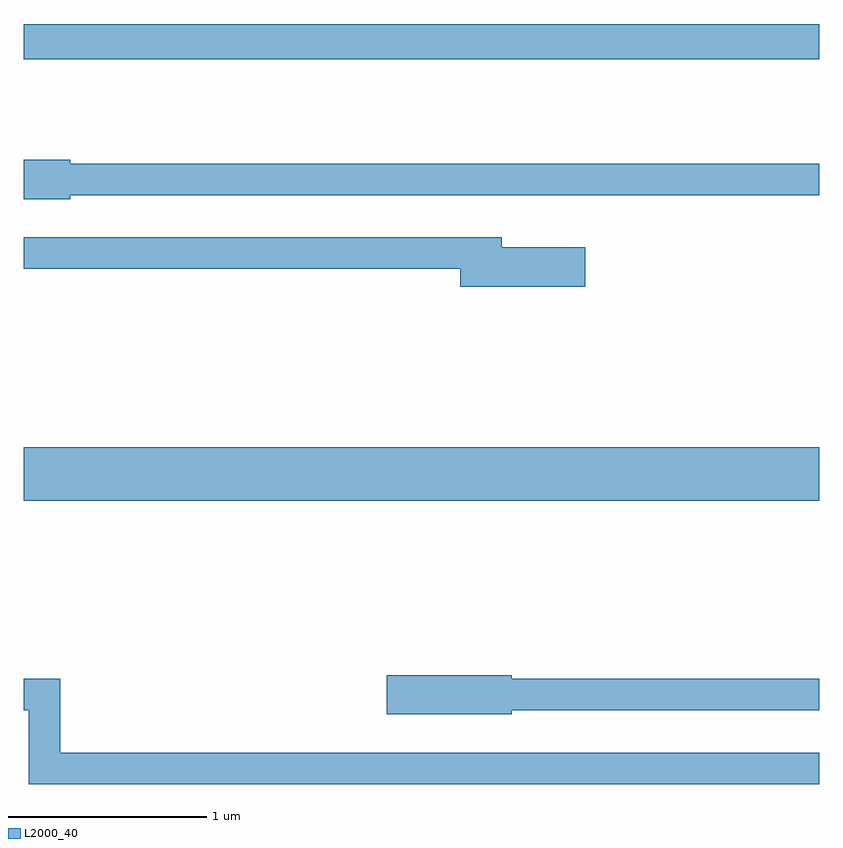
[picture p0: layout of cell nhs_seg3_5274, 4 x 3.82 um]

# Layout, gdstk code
import gdstk
lib = gdstk.Library(unit=1e-6, precision=1e-09)
def R(c, l, rs):  # rectangles x0, y0, x1, y1
    for r in rs: c.add(gdstk.rectangle(r[:2], r[2:], *l))
def P(c, l, *ps):  # polygons
    for p in ps: c.add(gdstk.Polygon(p, *l))
L2000_40 = (2000, 40)

nhs_seg3_5274 = lib.new_cell('nhs_seg3_5274')
R(nhs_seg3_5274, L2000_40, [(339.611,1201.496,343.611,1201.764), (339.611,1203.716,343.611,1203.892)])
P(nhs_seg3_5274, L2000_40, [(339.844,1203.031),(343.611,1203.031),(343.611,1203.189),(339.844,1203.189),(339.844,1203.209),(339.611,1203.209),(339.611,1203.011),(339.844,1203.011)],
  [(342.434,1202.769),(342.014,1202.769),(342.014,1202.819),(339.611,1202.819),(339.611,1202.661),(341.806,1202.661),(341.806,1202.571),(342.434,1202.571)],
  [(342.064,1200.441),(343.611,1200.441),(343.611,1200.599),(342.064,1200.599),(342.064,1200.619),(341.436,1200.619),(341.436,1200.421),(342.064,1200.421)],
  [(343.611,1200.229),(339.794,1200.229),(339.794,1200.599),(339.611,1200.599),(339.611,1200.441),(339.636,1200.441),(339.636,1200.071),(343.611,1200.071)])

lib.write_gds('nhs_seg3_5274.gds')
